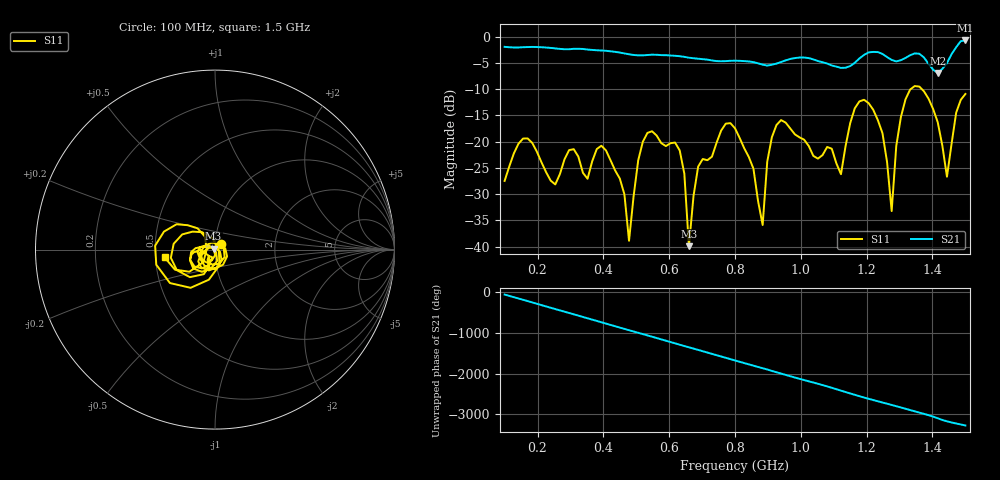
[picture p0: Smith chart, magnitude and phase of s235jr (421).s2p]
! NanoVNA-App
! Date: 2025-09-25 15:07:26
! Start: 100MHz Stop: 1,5GHz Points: 101
! S-Parameter data: F S11 S21 S12 S22
# Hz S RI R 50
!  Frequency  S11_Real  S11_Imag  S21_Real  S21_Imag  S12_Real  S12_Imag  S22_Real  S22_Imag
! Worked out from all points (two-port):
!   101 points, 100 MHz to 1.5 GHz, reference 50 ohm
!   highest |S21| = -0.75 dB at 1.5 GHz (marker M1); lowest = -7.0 dB at 1.416 GHz (marker M2)
!   |S21| within 3 dB of the highest: start of sweep to 632.4 MHz; 1.187 GHz to 1.258 GHz (71.6 MHz wide, 5.86 % of centre) (the widest 2 of 4)
!   lowest |S11| = -39.9 dB at 660 MHz (marker M3), VSWR 1.02, Z = 49.2 + j0.567 ohm
!   |S11| at or under -10 dB: start of sweep to 1.334 GHz; 1.368 GHz to end of sweep
!   S12 and S22 are empty: the file has one direction only
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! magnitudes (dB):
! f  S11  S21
! 100 MHz  -27.5  -2.0
! 156 MHz  -19.4  -2.0
! 338 MHz  -25.9  -2.4
! 408 MHz  -21.7  -2.7
! 478 MHz  -38.9  -3.4
! 520 MHz  -20.0  -3.6
! 576 MHz  -20.3  -3.5
! 632 MHz  -21.7  -3.7
! 660 MHz  -39.9  -4.0
! 688 MHz  -24.8  -4.2
! 800 MHz  -17.5  -4.6
! 884 MHz  -35.9  -5.4
! 926 MHz  -16.8  -5.2
! 1.038 GHz  -22.7  -4.3
! 1.122 GHz  -26.2  -6.0
! 1.192 GHz  -12.0  -3.5
! 1.248 GHz  -18.4  -3.3
! 1.276 GHz  -33.2  -4.5
! 1.332 GHz  -10.1  -3.6
! 1.416 GHz  -16.3  -7.0
! 1.444 GHz  -26.7  -5.1
! 1.5 GHz  -10.9  -0.7
